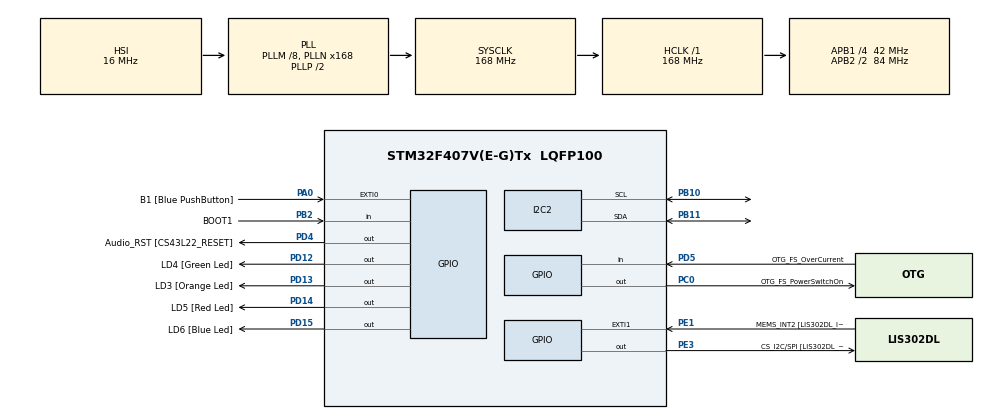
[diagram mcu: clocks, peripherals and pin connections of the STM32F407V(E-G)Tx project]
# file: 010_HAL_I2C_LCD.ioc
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Mcu.Family=STM32F4
Mcu.Name=STM32F407V(E-G)Tx
Mcu.Package=LQFP100
NVIC.PriorityGroup=NVIC_PRIORITYGROUP_0
PA0-WKUP.GPIO_Label=B1 [Blue PushButton]
PA0-WKUP.Signal=GPXTI0
PA10.GPIO_Label=OTG_FS_ID
PA10.GPIO_Mode=GPIO_MODE_AF_PP
PA10.GPIO_PuPd=GPIO_NOPULL
PA10.GPIO_Speed=GPIO_SPEED_FREQ_LOW
PA10.Signal=USB_OTG_FS_ID
PA11.GPIO_Label=OTG_FS_DM
PA11.GPIO_Mode=GPIO_MODE_AF_PP
PA11.GPIO_PuPd=GPIO_NOPULL
PA11.GPIO_Speed=GPIO_SPEED_FREQ_LOW
PA11.Signal=USB_OTG_FS_DM
PA12.GPIO_Label=OTG_FS_DP
PA12.GPIO_Mode=GPIO_MODE_AF_PP
PA12.GPIO_PuPd=GPIO_NOPULL
PA12.GPIO_Speed=GPIO_SPEED_FREQ_LOW
PA12.Signal=USB_OTG_FS_DP
PA13.GPIO_Label=SWDIO
PA13.Mode=Serial_Wire
PA13.Signal=SYS_JTMS-SWDIO
PA14.GPIO_Label=SWCLK
PA14.Mode=Serial_Wire
PA14.Signal=SYS_JTCK-SWCLK
PA4.GPIO_Label=I2S3_WS [CS43L22_LRCK]
PA4.GPIO_Mode=GPIO_MODE_AF_PP
PA4.GPIO_PuPd=GPIO_NOPULL
PA4.GPIO_Speed=GPIO_SPEED_FREQ_LOW
PA4.Signal=I2S3_WS
PA5.GPIO_Label=SPI1_SCK [LIS302DL_SCL/SPC]
PA5.GPIO_Mode=GPIO_MODE_AF_PP
PA5.GPIO_PuPd=GPIO_NOPULL
PA5.GPIO_Speed=GPIO_SPEED_FREQ_LOW
PA5.Signal=SPI1_SCK
PA6.GPIO_Label=SPI1_MISO [LIS302DL_SDO]
PA6.GPIO_Mode=GPIO_MODE_AF_PP
PA6.GPIO_PuPd=GPIO_NOPULL
PA6.GPIO_Speed=GPIO_SPEED_FREQ_LOW
PA6.Signal=SPI1_MISO
PA7.GPIO_Label=SPI1_MOSI [LIS302DL_SDA/SDI/SDO]
PA7.GPIO_Mode=GPIO_MODE_AF_PP
PA7.GPIO_PuPd=GPIO_NOPULL
PA7.GPIO_Speed=GPIO_SPEED_FREQ_LOW
PA7.Signal=SPI1_MOSI
PA9.GPIO_Label=VBUS_FS
PA9.GPIO_Mode=GPIO_MODE_INPUT
PA9.GPIO_PuPd=GPIO_NOPULL
PA9.Signal=USB_OTG_FS_VBUS
PB10.Mode=I2C
PB10.Signal=I2C2_SCL
PB11.Mode=I2C
PB11.Signal=I2C2_SDA
PB2.GPIO_Label=BOOT1
PB2.GPIO_Mode=GPIO_MODE_INPUT
PB2.GPIO_PuPd=GPIO_NOPULL
PB2.Signal=GPIO_Input
PB3.GPIO_Label=SWO
PB3.Signal=SYS_JTDO-SWO
PB6.GPIO_Label=Audio_SCL [CS43L22_SCL]
PB6.GPIO_Mode=GPIO_MODE_AF_OD
PB6.GPIO_PuPd=GPIO_NOPULL
PB6.GPIO_Speed=GPIO_SPEED_FREQ_LOW
PB6.Signal=I2C1_SCL
PB9.GPIO_Label=Audio_SDA [CS43L22_SDA]
PB9.GPIO_Mode=GPIO_MODE_AF_OD
PB9.GPIO_PuPd=GPIO_NOPULL
PB9.GPIO_Speed=GPIO_SPEED_FREQ_LOW
PB9.Signal=I2C1_SDA
PC0.GPIO_Label=OTG_FS_PowerSwitchOn
PC0.GPIO_PuPd=GPIO_NOPULL
PC0.GPIO_Speed=GPIO_SPEED_FREQ_LOW
PC0.PinState=GPIO_PIN_SET
PC0.Signal=GPIO_Output
PC10.GPIO_Label=I2S3_SCK [CS43L22_SCLK]
PC10.GPIO_Mode=GPIO_MODE_AF_PP
PC10.GPIO_PuPd=GPIO_NOPULL
PC10.GPIO_Speed=GPIO_SPEED_FREQ_LOW
PC10.Signal=I2S3_CK
PC12.GPIO_Label=I2S3_SD [CS43L22_SDIN]
PC12.GPIO_Mode=GPIO_MODE_AF_PP
PC12.GPIO_PuPd=GPIO_NOPULL
PC12.GPIO_Speed=GPIO_SPEED_FREQ_LOW
PC12.Signal=I2S3_SD
PC14-OSC32_IN.GPIO_Label=PC14-OSC32_IN
PC14-OSC32_IN.Signal=RCC_OSC32_IN
PC15-OSC32_OUT.GPIO_Label=PC15-OSC32_OUT
PC15-OSC32_OUT.Signal=RCC_OSC32_OUT
PC3.GPIO_Label=PDM_OUT [MP45DT02_DOUT]
PC3.GPIO_Mode=GPIO_MODE_AF_PP
PC3.GPIO_PuPd=GPIO_NOPULL
PC3.GPIO_Speed=GPIO_SPEED_FREQ_LOW
PC3.Signal=I2S2_SD
PC7.GPIO_Label=I2S3_MCK [CS43L22_MCLK]
PC7.GPIO_Mode=GPIO_MODE_AF_PP
PC7.GPIO_PuPd=GPIO_NOPULL
PC7.GPIO_Speed=GPIO_SPEED_FREQ_LOW
PC7.Signal=I2S3_MCK
PD12.GPIO_Label=LD4 [Green Led]
PD12.GPIO_PuPd=GPIO_NOPULL
PD12.GPIO_Speed=GPIO_SPEED_FREQ_LOW
PD12.Signal=GPIO_Output
PD13.GPIO_Label=LD3 [Orange Led]
PD13.GPIO_PuPd=GPIO_NOPULL
PD13.GPIO_Speed=GPIO_SPEED_FREQ_LOW
PD13.Signal=GPIO_Output
PD14.GPIO_Label=LD5 [Red Led]
PD14.GPIO_PuPd=GPIO_NOPULL
PD14.GPIO_Speed=GPIO_SPEED_FREQ_LOW
PD14.Signal=GPIO_Output
PD15.GPIO_Label=LD6 [Blue Led]
PD15.GPIO_PuPd=GPIO_NOPULL
PD15.GPIO_Speed=GPIO_SPEED_FREQ_LOW
PD15.Signal=GPIO_Output
PD4.GPIO_Label=Audio_RST [CS43L22_RESET]
PD4.GPIO_PuPd=GPIO_NOPULL
PD4.GPIO_Speed=GPIO_SPEED_FREQ_LOW
PD4.Signal=GPIO_Output
PD5.GPIO_Label=OTG_FS_OverCurrent
PD5.GPIO_Mode=GPIO_MODE_INPUT
PD5.GPIO_PuPd=GPIO_NOPULL
PD5.Signal=GPIO_Input
PE1.GPIO_Label=MEMS_INT2 [LIS302DL_INT2]
PE1.GPIO_ModeDefaultEXTI=GPIO_MODE_EVT_RISING
PE1.GPIO_PuPd=GPIO_NOPULL
PE1.Signal=GPXTI1
PE3.GPIO_Label=CS_I2C/SPI [LIS302DL_CS_I2C/SPI]
PE3.GPIO_PuPd=GPIO_NOPULL
PE3.GPIO_Speed=GPIO_SPEED_FREQ_LOW
PE3.Signal=GPIO_Output
PH0-OSC_IN.GPIO_Label=PH0-OSC_IN
PH0-OSC_IN.Mode=HSE-External-Oscillator
PH0-OSC_IN.Signal=RCC_OSC_IN
PH1-OSC_OUT.GPIO_Label=PH1-OSC_OUT
PH1-OSC_OUT.Mode=HSE-External-Oscillator
PH1-OSC_OUT.Signal=RCC_OSC_OUT
ProjectManager.HeapSize=0x200
ProjectManager.StackSize=0x400
ProjectManager.TargetToolchain=STM32CubeIDE
RCC.48MHZClocksFreq_Value=48000000
RCC.AHBFreq_Value=168000000
RCC.APB1CLKDivider=RCC_HCLK_DIV4
RCC.APB1Freq_Value=42000000
RCC.APB1TimFreq_Value=84000000
RCC.APB2CLKDivider=RCC_HCLK_DIV2
RCC.APB2Freq_Value=84000000
RCC.APB2TimFreq_Value=168000000
RCC.CortexFreq_Value=168000000
RCC.HCLKFreq_Value=168000000
RCC.HSE_VALUE=8000000
RCC.HSI_VALUE=16000000
RCC.LSE_VALUE=32768
RCC.PLLM=8
RCC.PLLN=168
RCC.PLLQ=7
RCC.SYSCLKFreq_VALUE=168000000
RCC.SYSCLKSource=RCC_SYSCLKSOURCE_PLLCLK
RCC.VCOOutputFreq_Value=336000000
board=STM32F407G-DISC1

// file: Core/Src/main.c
/* USER CODE BEGIN Header */
/**
  ******************************************************************************
  * @file           : main.c
  * @brief          : Main program body
  ******************************************************************************
  * @attention
  *
  * Copyright (c) 2024 STMicroelectronics.
  * All rights reserved.
  *
  * This software is licensed under terms that can be found in the LICENSE file
  * in the root directory of this software component.
  * If no LICENSE file comes with this software, it is provided AS-IS.
  *
  ******************************************************************************
  */
/* USER CODE END Header */
#include "main.h"

/* USER CODE BEGIN Includes */
#include "lcd_i2c.h"
/* USER CODE END Includes */

I2C_HandleTypeDef hi2c2;

/* USER CODE BEGIN PV */
uint8_t address ;
uint8_t LCDAdress = 0x4E;
/* USER CODE END PV */

void SystemClock_Config(void);
static void MX_GPIO_Init(void);
static void MX_I2C2_Init(void);

/* USER CODE BEGIN 0 */

void findDeviceAddress()
{
	for(address=0;address<256;address++)
	{
		if(HAL_I2C_IsDeviceReady(&hi2c2, (uint16_t)(address<<1), 1, 100)==HAL_OK)
		{
			//In debug mode when the code gets in here the current address value is the valid address
			HAL_GPIO_TogglePin(GPIOD, GPIO_PIN_12);
			break;
		}
	}
}

/* USER CODE END 0 */

int main(void)
{
  /* USER CODE BEGIN 1 */
	uint8_t row=0,col=0,i=64;
  /* USER CODE END 1 */

  /* MCU Configuration--------------------------------------------------------*/

  /* Reset of all peripherals, Initializes the Flash interface and the Systick. */
  HAL_Init();

  /* Configure the system clock */
  SystemClock_Config();

  /* Initialize all configured peripherals */
  MX_GPIO_Init();
  MX_I2C2_Init();
  /* USER CODE BEGIN 2 */
  //findDeviceAddress();

  lcd_init ();
  HAL_Delay(50);
  lcd_put_cur(0,0);
  lcd_send_string("Hello world");
  HAL_Delay(500);
  lcd_put_cur(1,0);
  lcd_send_string("From Turkiye");
  HAL_Delay(500);
  lcd_clear();
  /* USER CODE END 2 */

  /* Infinite loop */
  while (1)
  {

    /* USER CODE BEGIN 3 */
	  lcd_put_cur(row, col);
	  lcd_send_data(i);
	  col++;
	  i++;
	  HAL_Delay(200);
	  if(col>15){row++;col=0;}
	  if(row>1){row=0;}

  }
  /* USER CODE END 3 */
}

void SystemClock_Config(void)
{
  RCC_OscInitTypeDef RCC_OscInitStruct = {0};
  RCC_ClkInitTypeDef RCC_ClkInitStruct = {0};

  /** Configure the main internal regulator output voltage
  */
  __HAL_RCC_PWR_CLK_ENABLE();
  __HAL_PWR_VOLTAGESCALING_CONFIG(PWR_REGULATOR_VOLTAGE_SCALE1);

  /** Initializes the RCC Oscillators according to the specified parameters
  * in the RCC_OscInitTypeDef structure.
  */
  RCC_OscInitStruct.OscillatorType = RCC_OSCILLATORTYPE_HSI;
  RCC_OscInitStruct.HSIState = RCC_HSI_ON;
  RCC_OscInitStruct.HSICalibrationValue = RCC_HSICALIBRATION_DEFAULT;
  RCC_OscInitStruct.PLL.PLLState = RCC_PLL_ON;
  RCC_OscInitStruct.PLL.PLLSource = RCC_PLLSOURCE_HSI;
  RCC_OscInitStruct.PLL.PLLM = 8;
  RCC_OscInitStruct.PLL.PLLN = 168;
  RCC_OscInitStruct.PLL.PLLP = RCC_PLLP_DIV2;
  RCC_OscInitStruct.PLL.PLLQ = 7;
  if (HAL_RCC_OscConfig(&RCC_OscInitStruct) != HAL_OK)
  {
    Error_Handler();
  }

  /** Initializes the CPU, AHB and APB buses clocks
  */
  RCC_ClkInitStruct.ClockType = RCC_CLOCKTYPE_HCLK|RCC_CLOCKTYPE_SYSCLK
                              |RCC_CLOCKTYPE_PCLK1|RCC_CLOCKTYPE_PCLK2;
  RCC_ClkInitStruct.SYSCLKSource = RCC_SYSCLKSOURCE_PLLCLK;
  RCC_ClkInitStruct.AHBCLKDivider = RCC_SYSCLK_DIV1;
  RCC_ClkInitStruct.APB1CLKDivider = RCC_HCLK_DIV4;
  RCC_ClkInitStruct.APB2CLKDivider = RCC_HCLK_DIV2;

  if (HAL_RCC_ClockConfig(&RCC_ClkInitStruct, FLASH_LATENCY_5) != HAL_OK)
  {
    Error_Handler();
  }
}

static void MX_I2C2_Init(void)
{

  hi2c2.Instance = I2C2;
  hi2c2.Init.ClockSpeed = 100000;
  hi2c2.Init.DutyCycle = I2C_DUTYCYCLE_2;
  hi2c2.Init.OwnAddress1 = 0;
  hi2c2.Init.AddressingMode = I2C_ADDRESSINGMODE_7BIT;
  hi2c2.Init.DualAddressMode = I2C_DUALADDRESS_DISABLE;
  hi2c2.Init.OwnAddress2 = 0;
  hi2c2.Init.GeneralCallMode = I2C_GENERALCALL_DISABLE;
  hi2c2.Init.NoStretchMode = I2C_NOSTRETCH_DISABLE;
  if (HAL_I2C_Init(&hi2c2) != HAL_OK)
  {
    Error_Handler();
  }

}

static void MX_GPIO_Init(void)
{
  GPIO_InitTypeDef GPIO_InitStruct = {0};

  /* GPIO Ports Clock Enable */
  __HAL_RCC_GPIOE_CLK_ENABLE();
  __HAL_RCC_GPIOC_CLK_ENABLE();
  __HAL_RCC_GPIOH_CLK_ENABLE();
  __HAL_RCC_GPIOA_CLK_ENABLE();
  __HAL_RCC_GPIOB_CLK_ENABLE();
  __HAL_RCC_GPIOD_CLK_ENABLE();

  /*Configure GPIO pin Output Level */
  HAL_GPIO_WritePin(CS_I2C_SPI_GPIO_Port, CS_I2C_SPI_Pin, GPIO_PIN_RESET);

  /*Configure GPIO pin Output Level */
  HAL_GPIO_WritePin(OTG_FS_PowerSwitchOn_GPIO_Port, OTG_FS_PowerSwitchOn_Pin, GPIO_PIN_SET);

  /*Configure GPIO pin Output Level */
  HAL_GPIO_WritePin(GPIOD, LD4_Pin|LD3_Pin|LD5_Pin|LD6_Pin
                          |Audio_RST_Pin, GPIO_PIN_RESET);

  /*Configure GPIO pin : CS_I2C_SPI_Pin */
  GPIO_InitStruct.Pin = CS_I2C_SPI_Pin;
  GPIO_InitStruct.Mode = GPIO_MODE_OUTPUT_PP;
  GPIO_InitStruct.Pull = GPIO_NOPULL;
  GPIO_InitStruct.Speed = GPIO_SPEED_FREQ_LOW;
  HAL_GPIO_Init(CS_I2C_SPI_GPIO_Port, &GPIO_InitStruct);

  /*Configure GPIO pin : OTG_FS_PowerSwitchOn_Pin */
  GPIO_InitStruct.Pin = OTG_FS_PowerSwitchOn_Pin;
  GPIO_InitStruct.Mode = GPIO_MODE_OUTPUT_PP;
  GPIO_InitStruct.Pull = GPIO_NOPULL;
  GPIO_InitStruct.Speed = GPIO_SPEED_FREQ_LOW;
  HAL_GPIO_Init(OTG_FS_PowerSwitchOn_GPIO_Port, &GPIO_InitStruct);

  /*Configure GPIO pin : PDM_OUT_Pin */
  GPIO_InitStruct.Pin = PDM_OUT_Pin;
  GPIO_InitStruct.Mode = GPIO_MODE_AF_PP;
  GPIO_InitStruct.Pull = GPIO_NOPULL;
  GPIO_InitStruct.Speed = GPIO_SPEED_FREQ_LOW;
  GPIO_InitStruct.Alternate = GPIO_AF5_SPI2;
  HAL_GPIO_Init(PDM_OUT_GPIO_Port, &GPIO_InitStruct);

  /*Configure GPIO pin : B1_Pin */
  GPIO_InitStruct.Pin = B1_Pin;
  GPIO_InitStruct.Mode = GPIO_MODE_IT_RISING;
  GPIO_InitStruct.Pull = GPIO_NOPULL;
  HAL_GPIO_Init(B1_GPIO_Port, &GPIO_InitStruct);

  /*Configure GPIO pin : I2S3_WS_Pin */
  GPIO_InitStruct.Pin = I2S3_WS_Pin;
  GPIO_InitStruct.Mode = GPIO_MODE_AF_PP;
  GPIO_InitStruct.Pull = GPIO_NOPULL;
  GPIO_InitStruct.Speed = GPIO_SPEED_FREQ_LOW;
  GPIO_InitStruct.Alternate = GPIO_AF6_SPI3;
  HAL_GPIO_Init(I2S3_WS_GPIO_Port, &GPIO_InitStruct);

  /*Configure GPIO pins : SPI1_SCK_Pin SPI1_MISO_Pin SPI1_MOSI_Pin */
  GPIO_InitStruct.Pin = SPI1_SCK_Pin|SPI1_MISO_Pin|SPI1_MOSI_Pin;
  GPIO_InitStruct.Mode = GPIO_MODE_AF_PP;
  GPIO_InitStruct.Pull = GPIO_NOPULL;
  GPIO_InitStruct.Speed = GPIO_SPEED_FREQ_LOW;
  GPIO_InitStruct.Alternate = GPIO_AF5_SPI1;
  HAL_GPIO_Init(GPIOA, &GPIO_InitStruct);

  /*Configure GPIO pin : BOOT1_Pin */
  GPIO_InitStruct.Pin = BOOT1_Pin;
  GPIO_InitStruct.Mode = GPIO_MODE_INPUT;
  GPIO_InitStruct.Pull = GPIO_NOPULL;
  HAL_GPIO_Init(BOOT1_GPIO_Port, &GPIO_InitStruct);

  /*Configure GPIO pins : LD4_Pin LD3_Pin LD5_Pin LD6_Pin
                           Audio_RST_Pin */
  GPIO_InitStruct.Pin = LD4_Pin|LD3_Pin|LD5_Pin|LD6_Pin
                          |Audio_RST_Pin;
  GPIO_InitStruct.Mode = GPIO_MODE_OUTPUT_PP;
  GPIO_InitStruct.Pull = GPIO_NOPULL;
  GPIO_InitStruct.Speed = GPIO_SPEED_FREQ_LOW;
  HAL_GPIO_Init(GPIOD, &GPIO_InitStruct);

  /*Configure GPIO pins : I2S3_MCK_Pin I2S3_SCK_Pin I2S3_SD_Pin */
  GPIO_InitStruct.Pin = I2S3_MCK_Pin|I2S3_SCK_Pin|I2S3_SD_Pin;
  GPIO_InitStruct.Mode = GPIO_MODE_AF_PP;
  GPIO_InitStruct.Pull = GPIO_NOPULL;
  GPIO_InitStruct.Speed = GPIO_SPEED_FREQ_LOW;
  GPIO_InitStruct.Alternate = GPIO_AF6_SPI3;
  HAL_GPIO_Init(GPIOC, &GPIO_InitStruct);

  /*Configure GPIO pin : VBUS_FS_Pin */
  GPIO_InitStruct.Pin = VBUS_FS_Pin;
  GPIO_InitStruct.Mode = GPIO_MODE_INPUT;
  GPIO_InitStruct.Pull = GPIO_NOPULL;
  HAL_GPIO_Init(VBUS_FS_GPIO_Port, &GPIO_InitStruct);

  /*Configure GPIO pins : OTG_FS_ID_Pin OTG_FS_DM_Pin OTG_FS_DP_Pin */
  GPIO_InitStruct.Pin = OTG_FS_ID_Pin|OTG_FS_DM_Pin|OTG_FS_DP_Pin;
  GPIO_InitStruct.Mode = GPIO_MODE_AF_PP;
  GPIO_InitStruct.Pull = GPIO_NOPULL;
  GPIO_InitStruct.Speed = GPIO_SPEED_FREQ_LOW;
  GPIO_InitStruct.Alternate = GPIO_AF10_OTG_FS;
  HAL_GPIO_Init(GPIOA, &GPIO_InitStruct);

  /*Configure GPIO pin : OTG_FS_OverCurrent_Pin */
  GPIO_InitStruct.Pin = OTG_FS_OverCurrent_Pin;
  GPIO_InitStruct.Mode = GPIO_MODE_INPUT;
  GPIO_InitStruct.Pull = GPIO_NOPULL;
  HAL_GPIO_Init(OTG_FS_OverCurrent_GPIO_Port, &GPIO_InitStruct);

  /*Configure GPIO pins : Audio_SCL_Pin Audio_SDA_Pin */
  GPIO_InitStruct.Pin = Audio_SCL_Pin|Audio_SDA_Pin;
  GPIO_InitStruct.Mode = GPIO_MODE_AF_OD;
  GPIO_InitStruct.Pull = GPIO_NOPULL;
  GPIO_InitStruct.Speed = GPIO_SPEED_FREQ_LOW;
  GPIO_InitStruct.Alternate = GPIO_AF4_I2C1;
  HAL_GPIO_Init(GPIOB, &GPIO_InitStruct);

  /*Configure GPIO pin : MEMS_INT2_Pin */
  GPIO_InitStruct.Pin = MEMS_INT2_Pin;
  GPIO_InitStruct.Mode = GPIO_MODE_EVT_RISING;
  GPIO_InitStruct.Pull = GPIO_NOPULL;
  HAL_GPIO_Init(MEMS_INT2_GPIO_Port, &GPIO_InitStruct);

}

void Error_Handler(void)
{
  __disable_irq();
  while (1)
  {
  }
}
